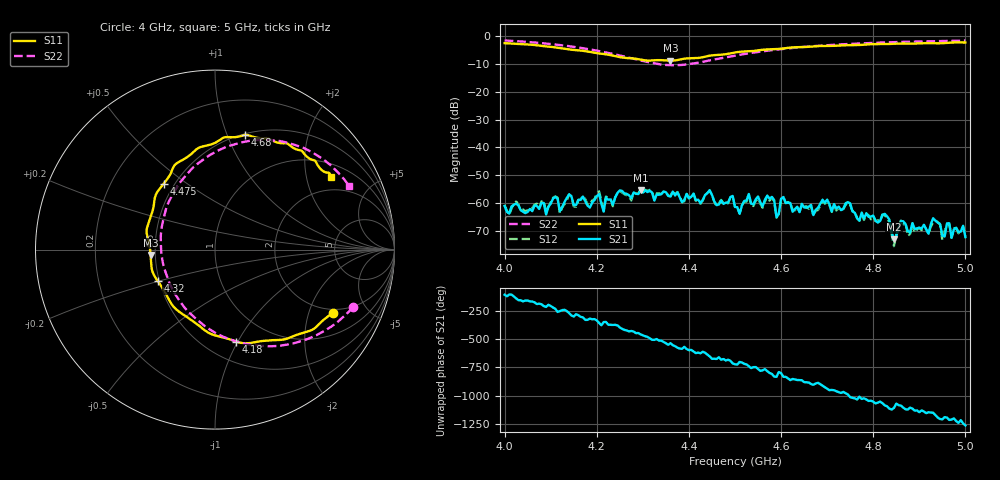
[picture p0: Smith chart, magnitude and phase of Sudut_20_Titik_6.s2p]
# Hz S RI R 50
! CMT, C1220, 16058040, 17.2.0/1
! Date: 15/08/2018 12:08:37
! Data: Format (Calibration Info)
! Freq  S11: Re/Im (F2)  S21: Re/Im (F2)  S12: Re/Im (F2)  S22: Re/Im (F2)
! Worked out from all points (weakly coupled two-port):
!   201 points, 4 GHz to 5 GHz, reference 50 ohm
!   highest |S21| = -55.31 dB at 4.295 GHz (marker M1); lowest = -73.0 dB at 4.845 GHz (marker M2)
!   lowest |S11| = -8.9 dB at 4.36 GHz (marker M3), VSWR 2.13, Z = 23.6 - j1.62 ohm
!   |S11| at or under -10 dB: nowhere
!   |S22| runs from -10.5 to -1.6 dB; largest |S21 - S12| = 0.00017
!   S11 on the Smith chart (normalised r, x): 4 GHz: 1.83, -2.90; 4.18 GHz: 0.70, -0.99; 4.32 GHz: 0.49, -0.20; 4.475 GHz: 0.44, +0.41; 4.68 GHz: 0.51, +1.16; 5 GHz: 1.46, +2.82
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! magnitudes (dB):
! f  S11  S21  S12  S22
! 4 GHz  -2.6  -61.0  -60.8  -1.6
! 4.09 GHz  -3.7  -64.1  -63.4  -2.7
! 4.11 GHz  -4.1  -57.8  -57.6  -3.1
! 4.12 GHz  -4.3  -62.9  -63.8  -3.2
! 4.17 GHz  -5.3  -57.7  -57.4  -4.4
! 4.18 GHz  -5.6  -60.9  -60.4  -4.7
! 4.295 GHz  -8.5  -55.3  -55.2  -8.8
! 4.32 GHz  -8.8  -56.2  -56.0  -9.7
! 4.335 GHz  -8.7  -57.0  -56.5  -10.1
! 4.36 GHz  -8.9  -57.7  -57.5  -10.5
! 4.475 GHz  -6.6  -60.3  -60.1  -7.8
! 4.5 GHz  -5.9  -61.4  -61.5  -7.0
! 4.57 GHz  -4.8  -57.3  -57.4  -5.3
! 4.59 GHz  -4.7  -65.1  -65.2  -4.9
! 4.605 GHz  -4.5  -57.8  -57.7  -4.6
! 4.67 GHz  -3.7  -64.3  -64.5  -3.7
! 4.68 GHz  -3.6  -61.8  -62.5  -3.5
! 4.835 GHz  -2.9  -65.9  -67.0  -2.3
! 4.845 GHz  -2.8  -73.0  -75.5  -2.2
! 4.86 GHz  -2.7  -66.6  -66.3  -2.1
! 4.875 GHz  -2.7  -70.1  -71.8  -2.1
! 5 GHz  -2.4  -72.2  -72.0  -1.6
